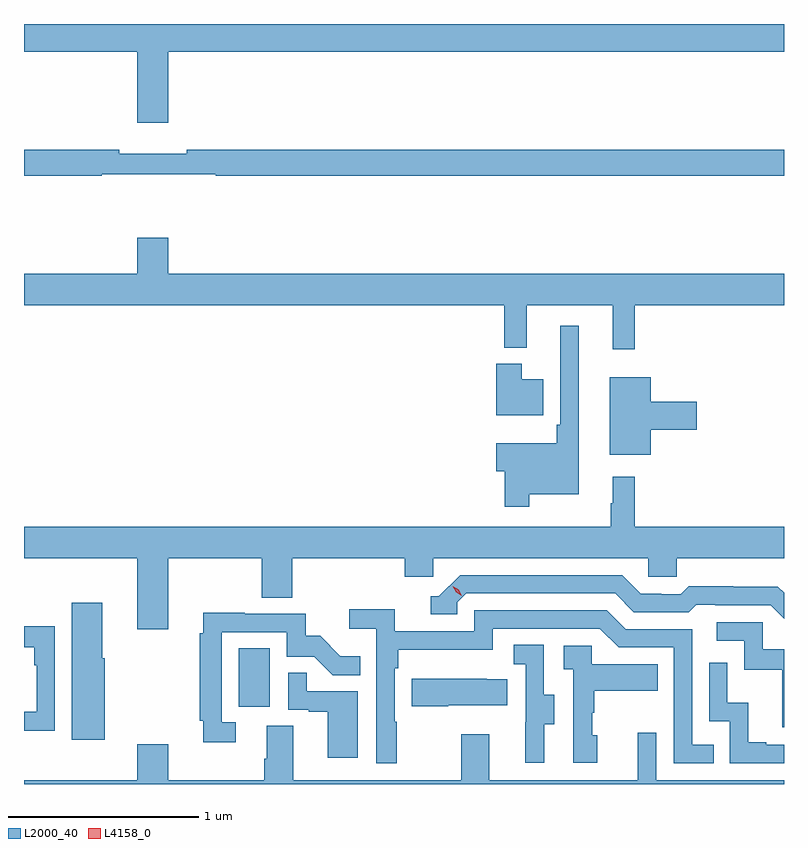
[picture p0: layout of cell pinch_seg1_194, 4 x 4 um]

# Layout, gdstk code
import gdstk
lib = gdstk.Library(unit=1e-6, precision=1e-09)
def R(c, l, rs):  # rectangles x0, y0, x1, y1
    for r in rs: c.add(gdstk.rectangle(r[:2], r[2:], *l))
def P(c, l, *ps):  # polygons
    for p in ps: c.add(gdstk.Polygon(p, *l))
L2000_40 = (2000, 40)
L4158_0 = (4158, 0)

pinch_seg1_194 = lib.new_cell('pinch_seg1_194')
R(pinch_seg1_194, L2000_40, [(992.714,577.59,992.878,577.897)])
P(pinch_seg1_194, L2000_40, [(992.344,581.036),(995.584,581.036),(995.584,581.183),(991.584,581.183),(991.584,581.036),(992.18,581.036),(992.18,580.662),(992.344,580.662)],
  [(991.994,580.392),(992.594,580.392),(992.594,580.384),(995.584,580.384),(995.584,580.52),(992.44,580.52),(992.44,580.501),(992.084,580.501),(992.084,580.52),(991.584,580.52),(991.584,580.384),(991.994,580.384)],
  [(992.344,580.057),(992.18,580.057),(992.18,579.868),(991.584,579.868),(991.584,579.704),(994.111,579.704),(994.111,579.479),(994.229,579.479),(994.229,579.704),(994.682,579.704),(994.682,579.471),(994.799,579.471),(994.799,579.704),(995.584,579.704),(995.584,579.868),(992.344,579.868)],
  [(994.243,578.708),(994.504,578.708),(994.504,579.595),(994.407,579.595),(994.407,579.073),(994.387,579.073),(994.387,578.977),(994.07,578.977),(994.07,578.83),(994.114,578.83),(994.114,578.643),(994.243,578.643)],
  [(994.318,579.313),(994.204,579.313),(994.204,579.394),(994.07,579.394),(994.07,579.125),(994.318,579.125)],
  [(994.882,579.047),(995.125,579.047),(995.125,579.194),(994.882,579.194),(994.882,579.325),(994.667,579.325),(994.667,578.915),(994.882,578.915)],
  [(992.344,578.372),(992.836,578.372),(992.836,578.164),(992.996,578.164),(992.996,578.372),(993.587,578.372),(993.587,578.274),(993.738,578.274),(993.738,578.372),(994.869,578.372),(994.869,578.274),(995.019,578.274),(995.019,578.372),(995.584,578.372),(995.584,578.536),(994.799,578.536),(994.799,578.8),(994.682,578.8),(994.682,578.66),(994.671,578.66),(994.671,578.536),(991.584,578.536),(991.584,578.372),(992.18,578.372),(992.18,577.998),(992.344,577.998)],
  [(995.584,578.189),(995.552,578.221),(995.316,578.221),(995.316,578.224),(995.083,578.224),(995.041,578.181),(994.938,578.181),(994.938,578.184),(994.831,578.184),(994.732,578.283),(993.879,578.283),(993.768,578.172),(993.725,578.172),(993.725,578.076),(993.864,578.076),(993.864,578.139),(993.912,578.187),(994.695,578.187),(994.794,578.088),(995.083,578.088),(995.122,578.127),(995.221,578.127),(995.221,578.124),(995.514,578.124),(995.584,578.054)],
  [(992.008,577.845),(991.996,577.845),(991.996,578.137),(991.835,578.137),(991.835,577.416),(992.008,577.416)],
  [(993.547,577.511),(993.534,577.511),(993.534,577.793),(993.554,577.793),(993.554,577.889),(994.05,577.889),(994.05,578.001),(994.614,578.001),(994.713,577.902),(995.004,577.902),(995.004,577.293),(995.213,577.293),(995.213,577.389),(995.1,577.389),(995.1,577.998),(994.75,577.998),(994.651,578.097),(993.954,578.097),(993.954,577.986),(993.536,577.986),(993.536,578.102),(993.297,578.102),(993.297,578),(993.438,578),(993.438,577.293),(993.547,577.293)],
  [(992.698,577.509),(992.625,577.509),(992.625,577.983),(992.967,577.983),(992.967,577.854),(993.111,577.854),(993.209,577.756),(993.353,577.756),(993.353,577.855),(993.249,577.855),(993.142,577.962),(993.066,577.962),(993.066,578.079),(992.747,578.079),(992.747,578.084),(992.528,578.084),(992.528,577.976),(992.509,577.976),(992.509,577.516),(992.528,577.516),(992.528,577.404),(992.698,577.404)],
  [(995.584,577.893),(995.472,577.893),(995.472,578.034),(995.229,578.034),(995.229,577.938),(995.376,577.938),(995.376,577.785),(995.575,577.785),(995.575,577.482),(995.584,577.482)],
  [(991.746,578.014),(991.584,578.014),(991.584,577.904),(991.637,577.904),(991.637,577.808),(991.65,577.808),(991.65,577.563),(991.584,577.563),(991.584,577.462),(991.746,577.462)],
  [(994.321,577.498),(994.375,577.498),(994.375,577.653),(994.32,577.653),(994.32,577.916),(994.161,577.916),(994.161,577.813),(994.224,577.813),(994.224,577.509),(994.223,577.509),(994.223,577.296),(994.321,577.296)],
  [(994.6,577.44),(994.575,577.44),(994.575,577.559),(994.585,577.559),(994.585,577.673),(994.919,577.673),(994.919,577.813),(994.572,577.813),(994.572,577.911),(994.425,577.911),(994.425,577.787),(994.476,577.787),(994.476,577.296),(994.6,577.296)],
  [(995.584,577.389),(995.491,577.389),(995.491,577.402),(995.396,577.402),(995.396,577.61),(995.286,577.61),(995.286,577.822),(995.19,577.822),(995.19,577.512),(995.298,577.512),(995.298,577.293),(995.584,577.293)],
  [(993.34,577.671),(993.071,577.671),(993.071,577.769),(992.976,577.769),(992.976,577.575),(993.083,577.575),(993.083,577.563),(993.182,577.563),(993.182,577.32),(993.34,577.32)],
  [(993.817,577.598),(994.127,577.598),(994.127,577.735),(994.019,577.735),(994.019,577.738),(993.626,577.738),(993.626,577.591),(993.817,577.591)],
  [(995.584,577.204),(994.911,577.204),(994.911,577.453),(994.814,577.453),(994.814,577.204),(994.033,577.204),(994.033,577.444),(993.886,577.444),(993.886,577.204),(993.001,577.204),(993.001,577.49),(992.861,577.49),(992.861,577.316),(992.849,577.316),(992.849,577.204),(992.344,577.204),(992.344,577.393),(992.18,577.393),(992.18,577.204),(991.584,577.204),(991.584,577.183),(995.584,577.183)])
P(pinch_seg1_194, L4158_0, [(993.889,578.173),(993.858,578.192),(993.841,578.225),(993.841,578.225),(993.841,578.225),(993.872,578.206),(993.889,578.174),(993.889,578.173)])

lib.write_gds('pinch_seg1_194.gds')
